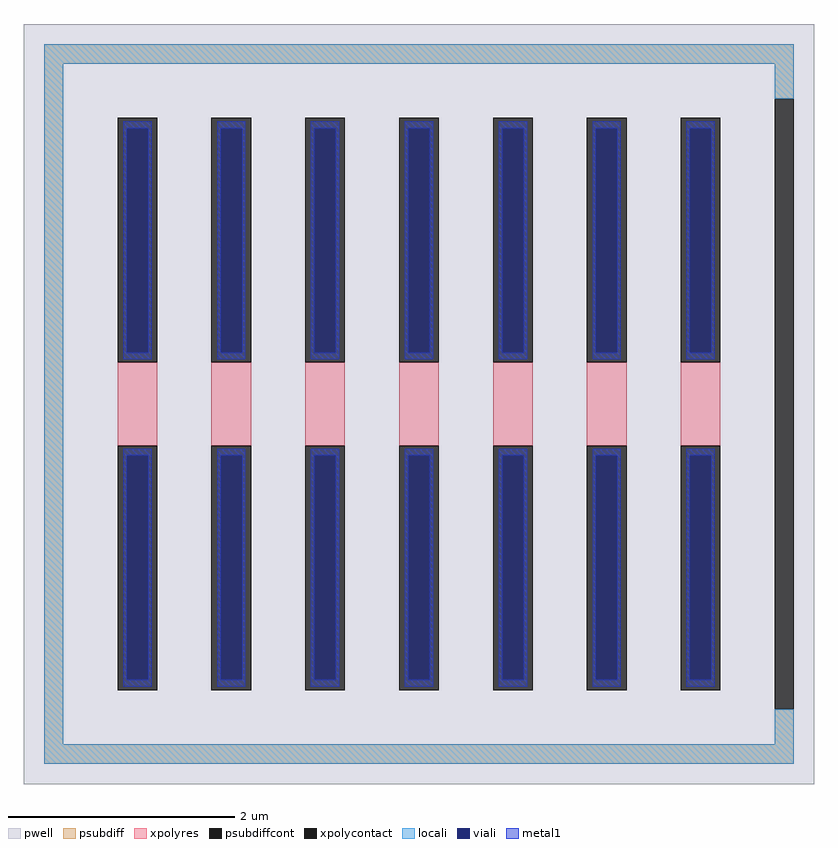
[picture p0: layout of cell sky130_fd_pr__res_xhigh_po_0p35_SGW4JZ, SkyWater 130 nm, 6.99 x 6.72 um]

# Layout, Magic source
magic
tech sky130A
magscale 1 2
<< pwell >>
rect -699 -672 699 672
<< psubdiff >>
rect -663 602 663 636
rect -663 -602 -629 602
rect 629 540 663 602
rect 629 -602 663 -540
rect -663 -636 663 -602
<< psubdiffcont >>
rect 629 -540 663 540
<< xpolycontact >>
rect -533 74 -463 506
rect -533 -506 -463 -74
rect -367 74 -297 506
rect -367 -506 -297 -74
rect -201 74 -131 506
rect -201 -506 -131 -74
rect -35 74 35 506
rect -35 -506 35 -74
rect 131 74 201 506
rect 131 -506 201 -74
rect 297 74 367 506
rect 297 -506 367 -74
rect 463 74 533 506
rect 463 -506 533 -74
<< xpolyres >>
rect -533 -74 -463 74
rect -367 -74 -297 74
rect -201 -74 -131 74
rect -35 -74 35 74
rect 131 -74 201 74
rect 297 -74 367 74
rect 463 -74 533 74
<< locali >>
rect -663 602 663 636
rect -663 -602 -629 602
rect 629 540 663 602
rect 629 -602 663 -540
rect -663 -636 663 -602
<< viali >>
rect -517 91 -479 488
rect -351 91 -313 488
rect -185 91 -147 488
rect -19 91 19 488
rect 147 91 185 488
rect 313 91 351 488
rect 479 91 517 488
rect -517 -488 -479 -91
rect -351 -488 -313 -91
rect -185 -488 -147 -91
rect -19 -488 19 -91
rect 147 -488 185 -91
rect 313 -488 351 -91
rect 479 -488 517 -91
<< metal1 >>
rect -523 488 -473 500
rect -523 91 -517 488
rect -479 91 -473 488
rect -523 79 -473 91
rect -357 488 -307 500
rect -357 91 -351 488
rect -313 91 -307 488
rect -357 79 -307 91
rect -191 488 -141 500
rect -191 91 -185 488
rect -147 91 -141 488
rect -191 79 -141 91
rect -25 488 25 500
rect -25 91 -19 488
rect 19 91 25 488
rect -25 79 25 91
rect 141 488 191 500
rect 141 91 147 488
rect 185 91 191 488
rect 141 79 191 91
rect 307 488 357 500
rect 307 91 313 488
rect 351 91 357 488
rect 307 79 357 91
rect 473 488 523 500
rect 473 91 479 488
rect 517 91 523 488
rect 473 79 523 91
rect -523 -91 -473 -79
rect -523 -488 -517 -91
rect -479 -488 -473 -91
rect -523 -500 -473 -488
rect -357 -91 -307 -79
rect -357 -488 -351 -91
rect -313 -488 -307 -91
rect -357 -500 -307 -488
rect -191 -91 -141 -79
rect -191 -488 -185 -91
rect -147 -488 -141 -91
rect -191 -500 -141 -488
rect -25 -91 25 -79
rect -25 -488 -19 -91
rect 19 -488 25 -91
rect -25 -500 25 -488
rect 141 -91 191 -79
rect 141 -488 147 -91
rect 185 -488 191 -91
rect 141 -500 191 -488
rect 307 -91 357 -79
rect 307 -488 313 -91
rect 351 -488 357 -91
rect 307 -500 357 -488
rect 473 -91 523 -79
rect 473 -488 479 -91
rect 517 -488 523 -91
rect 473 -500 523 -488
<< properties >>
string FIXED_BBOX -646 -619 646 619
string gencell sky130_fd_pr__res_xhigh_po_0p35
string library sky130
string parameters w 0.350 l 0.9 m 1 nx 7 wmin 0.350 lmin 0.50 rho 2000 val 6.218k dummy 0 dw 0.0 term 188.2 sterm 0.0 caplen 0 wmax 0.350 guard 1 glc 0 grc 1 gtc 0 gbc 0 compatible {sky130_fd_pr__res_xhigh_po_0p35  sky130_fd_pr__res_xhigh_po_0p69 sky130_fd_pr__res_xhigh_po_1p41  sky130_fd_pr__res_xhigh_po_2p85 sky130_fd_pr__res_xhigh_po_5p73} snake 0 full_metal 1 n_guard 0 hv_guard 0 vias 1 viagb 0 viagt 0 viagl 0 viagr 0
<< end >>
